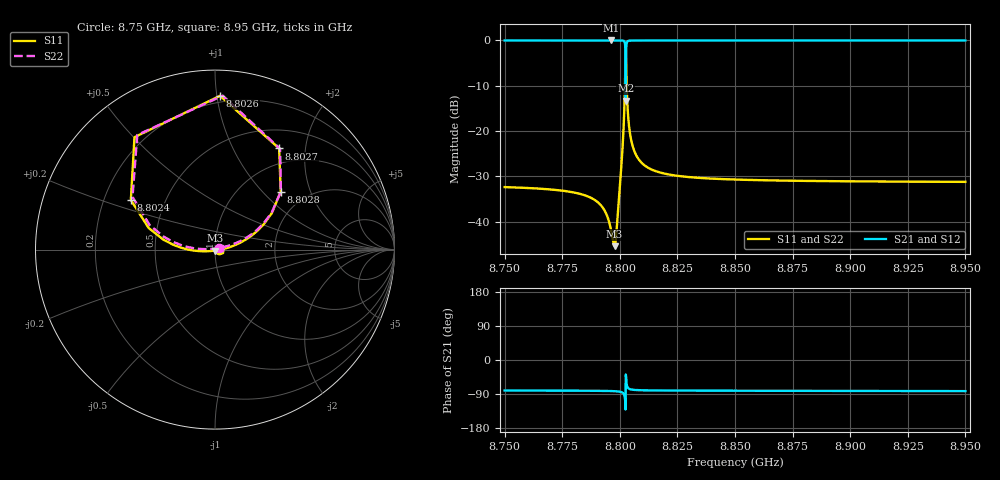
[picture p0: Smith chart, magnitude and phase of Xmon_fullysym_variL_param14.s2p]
! Sonnet Data File
! From: emgraph Version : 16.52
! From Project: 171117_Xmon_fullysym
! Data is De-embedded
! Data File Written: 11/26/2017 17:14:24
!< HDATE 11/22/2017 16:48:52
!< MDATE 11/23/2017 10:16:42
!< PARAMS
!< Lj = 11.0
!< Gap = 1.0
!< Pwid = 2000.0
!< Airgap = 6.0
!< Width = 10.0
!< Lj1 = 9.2
!< END PARAMS
# GHZ S MA R 50.90000
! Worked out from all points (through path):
!   2001 points, 8.75 GHz to 8.95 GHz, reference 50.9 ohm
!   highest |S21| = 0.00 dB at 8.7962 GHz (marker M1); lowest = -13.3 dB at 8.8026 GHz (marker M2)
!   lowest |S11| = -45.4 dB at 8.7977 GHz (marker M3), VSWR 1.01, Z = 51 - j0.542 ohm
!   |S11| at or under -10 dB: start of sweep to 8.8022 GHz; 8.803 GHz to end of sweep
!   |S22| runs from -45.1 to -1.3 dB; largest |S21 - S12| = 5.3e-11
!   S11 on the Smith chart (normalised r, x): 8.75 GHz: 1.05, -0.00; 8.8024 GHz: 0.32, +0.25; 8.8026 GHz: 0.16, +1.02; 8.8027 GHz: 0.76, +1.54; 8.8028 GHz: 1.50, +1.28; 8.95 GHz: 1.06, -0.00
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8.75  0.02407 -2.9  0.9997 -80.5  0.9997 -80.5  0.02408 22.0
!< P1 F=8.75 Eeff=(6.44841643 -2.9796e-5) Z0=(50.9085185 1.17018e-4) R=0.0 C=0.0
!< P2 F=8.75 Eeff=(6.44841643 -2.9796e-5) Z0=(50.9085185 1.17018e-4) R=0.0 C=0.0
8.7834  0.02005 -6.2  0.9998 -81.0  0.9998 -81.0  0.02005 24.2
8.792  0.01495 -12.2  0.9999 -81.4  0.9999 -81.4  0.01497 29.5
8.7962  0.008096 -33.2  0.9999 -81.9  0.9999 -81.9  0.008178 50.0
8.7977  0.005365 -82.7  0.9999 -82.3  0.9999 -82.3  0.005571 98.1
8.7986  0.008003 -130.5  0.9998 -82.6  0.9998 -82.6  0.008211 143.6
8.7997  0.01891 -156.9  0.9995 -83.3  0.9995 -83.3  0.01908 168.5
8.8009  0.04993 -169.3  0.9979 -85.2  0.9979 -85.2  0.05012 177.0
8.8015  0.0916 -174.9  0.9937 -87.6  0.9937 -87.6  0.09184 177.2
8.8019  0.1592 179.2  0.9821 -91.5  0.9821 -91.5  0.1595 174.2
8.8024  0.5442 149.5  0.7799 -115.1  0.7799 -115.1  0.5451 147.5
8.8026  0.8573 88.1  0.2156 -38.3  0.2156 -38.3  0.8587 87.1
8.8027  0.6676 57.6  0.6536 -40.9  0.6536 -40.9  0.6686 57.1
8.8028  0.4882 41.4  0.8344 -53.2  0.8344 -53.2  0.4889 41.4
8.8036  0.1476 15.5  0.9868 -73.8  0.9868 -73.8  0.1478 18.6
8.8045  0.09147 10.4  0.9952 -77.1  0.9952 -77.1  0.09155 16.2
8.8065  0.05838 6.3  0.9981 -79.0  0.9981 -79.0  0.05841 15.9
8.8167  0.03533 1.2  0.9994 -80.5  0.9994 -80.5  0.03533 17.9
8.85  0.02917 -1.5  0.9996 -81.1  0.9996 -81.1  0.02917 19.2
8.8834  0.02812 -2.3  0.9996 -81.5  0.9996 -81.5  0.02812 19.3
8.9167  0.02771 -2.9  0.9996 -81.8  0.9996 -81.8  0.02771 19.2
8.95  0.0275 -3.4  0.9996 -82.1  0.9996 -82.1  0.0275 19.1
